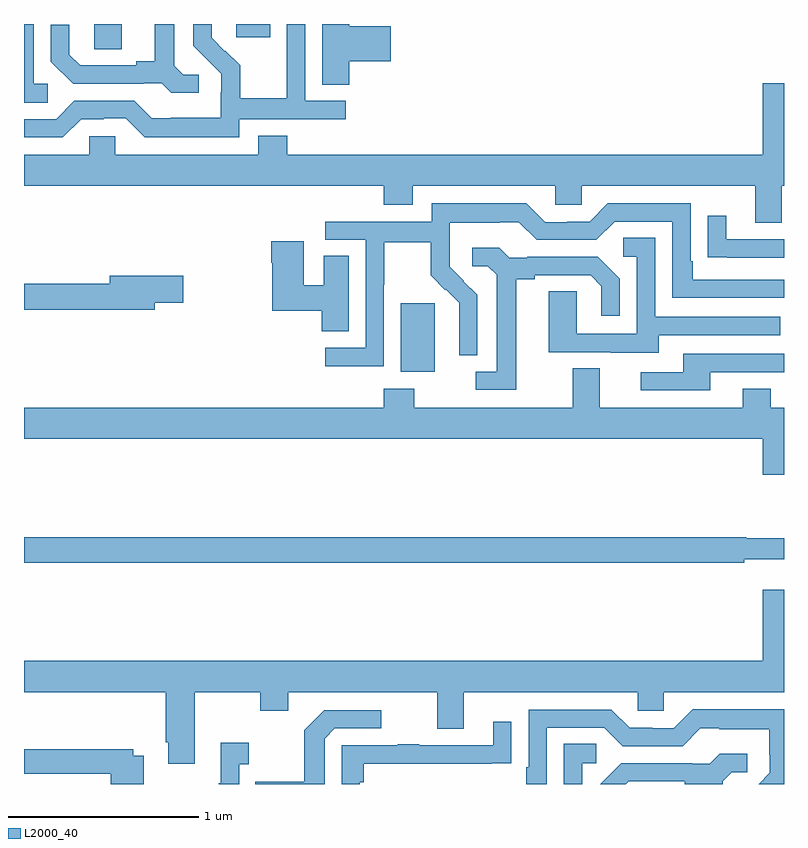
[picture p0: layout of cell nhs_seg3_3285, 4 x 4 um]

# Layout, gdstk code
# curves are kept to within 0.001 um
import gdstk
lib = gdstk.Library(unit=1e-6, precision=1e-09)
def R(c, l, rs):  # rectangles x0, y0, x1, y1
    for r in rs: c.add(gdstk.rectangle(r[:2], r[2:], *l))
def P(c, l, *ps):  # polygons
    for p in ps: c.add(gdstk.Polygon(p, *l))
L2000_40 = (2000, 40)

nhs_seg3_3285 = lib.new_cell('nhs_seg3_3285')
R(nhs_seg3_3285, L2000_40, [(282.983,734.57,283.162,734.931), (281.37,736.267,281.515,736.4), (282.116,736.329,282.295,736.4)])
P(nhs_seg3_3285, L2000_40, [(281.125,736.086),(281.052,736.086),(281.052,736.4),(281,736.4),(281,735.985),(281.125,735.985)],
  [(282.713,736.205),(282.931,736.205),(282.931,736.388),(282.713,736.388),(282.713,736.4),(282.569,736.4),(282.569,736.081),(282.713,736.081)],
  [(282.132,735.9),(282.694,735.9),(282.694,735.996),(282.48,735.996),(282.48,736.4),(282.384,736.4),(282.384,736.232),(282.382,736.232),(282.382,736.009),(282.137,736.009),(282.137,736.183),(282.06,736.26),(282.057,736.257),(281.987,736.328),(281.987,736.4),(281.892,736.4),(281.892,736.286),(282.038,736.138),(282.038,736.041),(282.036,736.041),(282.036,735.907),(281.773,735.907),(281.773,735.903),(281.673,735.903),(281.58,735.996),(281.265,735.996),(281.169,735.9),(281,735.9),(281,735.804),(281.205,735.804),(281.301,735.9),(281.42,735.9),(281.42,735.903),(281.535,735.903),(281.635,735.803),(282.132,735.803)],
  [(281.92,736.134),(281.838,736.134),(281.791,736.181),(281.791,736.4),(281.687,736.4),(281.687,736.205),(281.591,736.205),(281.591,736.182),(281.296,736.182),(281.239,736.239),(281.239,736.396),(281.142,736.396),(281.142,736.202),(281.258,736.086),(281.63,736.086),(281.63,736.089),(281.724,736.089),(281.776,736.037),(281.92,736.037)],
  [(284.989,735.548),(285,735.548),(285,736.087),(284.888,736.087),(284.888,735.712),(282.386,735.712),(282.386,735.811),(282.233,735.811),(282.233,735.712),(281.481,735.712),(281.481,735.81),(281.343,735.81),(281.343,735.712),(281,735.712),(281,735.548),(282.893,735.548),(282.893,735.449),(283.045,735.449),(283.045,735.548),(283.797,735.548),(283.797,735.45),(283.935,735.45),(283.935,735.548),(284.849,735.548),(284.849,735.354),(284.989,735.354)],
  [(282.894,735.028),(282.897,735.028),(282.897,735.252),(283.141,735.252),(283.141,735.077),(283.218,735),(283.221,735.003),(283.292,734.933),(283.292,734.81),(283.29,734.81),(283.29,734.656),(283.386,734.656),(283.386,734.974),(283.24,735.122),(283.24,735.219),(283.242,735.219),(283.242,735.353),(283.505,735.353),(283.505,735.357),(283.605,735.357),(283.698,735.264),(284.013,735.264),(284.109,735.36),(284.412,735.36),(284.412,734.958),(285,734.958),(285,735.054),(284.521,735.054),(284.521,735.151),(284.508,735.151),(284.508,735.456),(284.073,735.456),(283.977,735.36),(283.859,735.36),(283.859,735.357),(283.743,735.357),(283.643,735.457),(283.146,735.457),(283.146,735.36),(282.585,735.36),(282.585,735.264),(282.798,735.264),(282.798,734.697),(282.585,734.697),(282.585,734.599),(282.894,734.599)],
  [(285,735.267),(284.695,735.267),(284.695,735.391),(284.599,735.391),(284.599,735.172),(284.701,735.172),(284.701,735.171),(285,735.171)],
  [(284.341,734.763),(284.981,734.763),(284.981,734.859),(284.322,734.859),(284.322,735.275),(284.154,735.275),(284.154,735.174),(284.226,735.174),(284.226,734.769),(283.908,734.769),(283.908,734.993),(283.763,734.993),(283.763,734.673),(284.087,734.673),(284.087,734.669),(284.341,734.669)],
  [(282.709,735.179),(282.578,735.179),(282.578,735.025),(282.472,735.025),(282.472,735.256),(282.302,735.256),(282.302,735.143),(282.307,735.143),(282.307,734.891),(282.566,734.891),(282.566,734.782),(282.709,734.782)],
  [(283.591,735.056),(283.687,735.056),(283.687,735.078),(283.982,735.078),(284.039,735.021),(284.039,734.865),(284.136,734.865),(284.136,735.058),(284.02,735.174),(283.648,735.174),(283.648,735.171),(283.554,735.171),(283.502,735.223),(283.359,735.223),(283.359,735.126),(283.44,735.126),(283.487,735.079),(283.487,734.571),(283.377,734.571),(283.377,734.475),(283.591,734.475)],
  [(281.689,734.933),(281.839,734.933),(281.839,735.075),(281.45,735.075),(281.45,735.032),(281,735.032),(281,734.896),(281.689,734.896)],
  [(284.611,734.568),(285,734.568),(285,734.664),(284.471,734.664),(284.471,734.568),(284.247,734.568),(284.247,734.472),(284.611,734.472)],
  [(285,734.38),(284.931,734.38),(284.931,734.479),(284.783,734.479),(284.783,734.38),(284.029,734.38),(284.029,734.588),(283.889,734.588),(283.889,734.38),(283.053,734.38),(283.053,734.479),(282.893,734.479),(282.893,734.38),(281,734.38),(281,734.216),(284.888,734.216),(284.888,734.028),(285,734.028)],
  [(284.792,733.583),(285,733.583),(285,733.693),(284.8,733.693),(284.8,733.7),(281,733.7),(281,733.564),(284.792,733.564)],
  [(281.899,732.884),(282.244,732.884),(282.244,732.785),(282.391,732.785),(282.391,732.884),(283.175,732.884),(283.175,732.69),(283.315,732.69),(283.315,732.884),(284.229,732.884),(284.229,732.786),(284.367,732.786),(284.367,732.884),(285,732.884),(285,733.423),(284.888,733.423),(284.888,733.048),(281,733.048),(281,732.884),(281.747,732.884),(281.747,732.619),(281.759,732.619),(281.759,732.507),(281.899,732.507)],
  [(283.752,732.696),(284.055,732.696),(284.151,732.6),(284.466,732.6),(284.559,732.693),(284.659,732.693),(284.659,732.689),(284.922,732.689),(284.922,732.555),(284.924,732.555),(284.924,732.458),(284.866,732.4),(285,732.4),(285,732.793),(284.521,732.793),(284.421,732.693),(284.306,732.693),(284.306,732.696),(284.187,732.696),(284.091,732.792),(283.656,732.792),(283.656,732.487),(283.643,732.487),(283.643,732.4),(283.752,732.4)],
  [(282.582,732.639),(282.636,732.693),(282.88,732.693),(282.88,732.789),(282.579,732.789),(282.474,732.683),(282.474,732.411),(282.217,732.411),(282.217,732.4),(282.582,732.4)],
  [(282.768,732.41),(282.788,732.41),(282.788,732.507),(283.463,732.507),(283.463,732.508),(283.565,732.508),(283.565,732.727),(283.469,732.727),(283.469,732.603),(283.079,732.603),(283.079,732.608),(282.967,732.608),(282.967,732.603),(282.672,732.603),(282.672,732.4),(282.768,732.4)],
  [(282.132,732.503),(282.184,732.503),(282.184,732.616),(282.035,732.616),(282.035,732.403),(282.024,732.403),(282.024,732.4),(282.132,732.4)],
  [(283.938,732.51),(284.011,732.51),(284.011,732.611),(283.842,732.611),(283.842,732.4),(283.938,732.4)],
  [(281.631,732.55),(281.574,732.55),(281.574,732.583),(281,732.583),(281,732.454),(281.456,732.454),(281.456,732.4),(281.631,732.4)],
  [(284.182,732.414),(284.477,732.414),(284.477,732.4),(284.677,732.4),(284.677,732.415),(284.724,732.462),(284.806,732.462),(284.806,732.559),(284.662,732.559),(284.61,732.507),(284.516,732.507),(284.516,732.51),(284.144,732.51),(284.034,732.4),(284.168,732.4)])

lib.write_gds('nhs_seg3_3285.gds')
